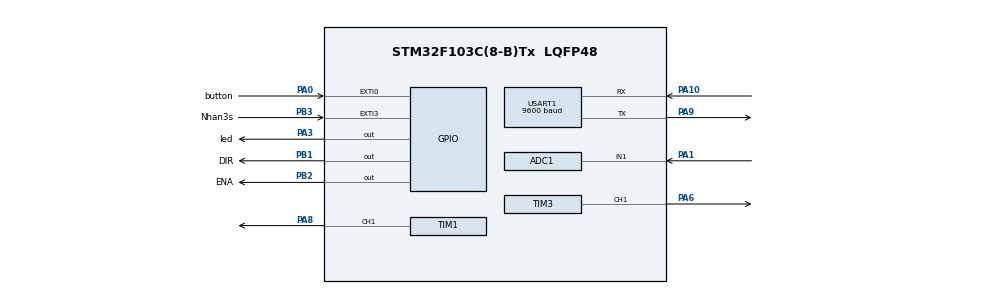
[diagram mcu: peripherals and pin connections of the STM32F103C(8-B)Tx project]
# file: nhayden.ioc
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ADC1.Channel-0\#ChannelRegularConversion=ADC_CHANNEL_1
ADC1.ContinuousConvMode=ENABLE
ADC1.NbrOfConversionFlag=1
ADC1.Rank-0\#ChannelRegularConversion=1
ADC1.SamplingTime-0\#ChannelRegularConversion=ADC_SAMPLETIME_239CYCLES_5
ADC1.master=1
Mcu.Family=STM32F1
Mcu.Name=STM32F103C(8-B)Tx
Mcu.Package=LQFP48
NVIC.ADC1_2_IRQn=true\:0\:0\:false\:false\:true\:true\:true\:true
NVIC.EXTI0_IRQn=true\:0\:0\:false\:false\:true\:true\:true\:true
NVIC.EXTI3_IRQn=true\:0\:0\:false\:false\:true\:true\:true\:true
NVIC.PVD_IRQn=true\:0\:0\:false\:false\:true\:true\:true\:true
NVIC.PriorityGroup=NVIC_PRIORITYGROUP_4
NVIC.TIM1_CC_IRQn=true\:0\:0\:true\:false\:true\:true\:true\:true
NVIC.TIM1_UP_IRQn=true\:0\:0\:true\:false\:true\:true\:true\:true
NVIC.TIM2_IRQn=true\:0\:0\:true\:false\:true\:true\:true\:true
NVIC.TIM3_IRQn=true\:0\:0\:false\:false\:true\:true\:true\:true
NVIC.USART1_IRQn=true\:0\:0\:true\:false\:true\:true\:true\:true
PA0-WKUP.GPIO_Label=button
PA0-WKUP.GPIO_ModeDefaultEXTI=GPIO_MODE_IT_RISING
PA0-WKUP.GPIO_PuPd=GPIO_PULLDOWN
PA0-WKUP.Signal=GPXTI0
PA1.Signal=ADCx_IN1
PA10.Mode=Asynchronous
PA10.Signal=USART1_RX
PA13.Mode=Serial_Wire
PA13.Signal=SYS_JTMS-SWDIO
PA14.Mode=Serial_Wire
PA14.Signal=SYS_JTCK-SWCLK
PA3.GPIO_Label=led
PA3.GPIO_PuPd=GPIO_PULLUP
PA3.Signal=GPIO_Output
PA6.Signal=S_TIM3_CH1
PA8.Signal=S_TIM1_CH1
PA9.Mode=Asynchronous
PA9.Signal=USART1_TX
PB1.GPIO_Label=DIR
PB1.GPIO_PuPd=GPIO_PULLUP
PB1.Signal=GPIO_Output
PB2.GPIO_Label=ENA
PB2.GPIO_PuPd=GPIO_PULLDOWN
PB2.Signal=GPIO_Output
PB3.GPIO_Label=Nhan3s
PB3.GPIO_ModeDefaultEXTI=GPIO_MODE_IT_RISING_FALLING
PB3.GPIO_PuPd=GPIO_PULLDOWN
PB3.Signal=GPXTI3
PD0-OSC_IN.Mode=HSE-External-Oscillator
PD0-OSC_IN.Signal=RCC_OSC_IN
PD1-OSC_OUT.Mode=HSE-External-Oscillator
PD1-OSC_OUT.Signal=RCC_OSC_OUT
ProjectManager.HeapSize=0x200
ProjectManager.StackSize=0x400
ProjectManager.TargetToolchain=STM32CubeIDE
RCC.APB1Freq_Value=8000000
RCC.APB2Freq_Value=8000000
SH.ADCx_IN1.0=ADC1_IN1,IN1
SH.S_TIM1_CH1.0=TIM1_CH1,PWM Generation1 CH1
SH.S_TIM3_CH1.0=TIM3_CH1,Output Compare1 CH1
TIM1.AutoReloadPreload=TIM_AUTORELOAD_PRELOAD_ENABLE
TIM1.Channel-PWM\ Generation1\ CH1=TIM_CHANNEL_1
TIM1.Period=999
TIM1.Prescaler=80
TIM1.Pulse-PWM\ Generation1\ CH1=950
TIM2.AutoReloadPreload=TIM_AUTORELOAD_PRELOAD_ENABLE
TIM2.Period=4999
TIM2.Prescaler=7999
TIM3.AutoReloadPreload=TIM_AUTORELOAD_PRELOAD_ENABLE
TIM3.Channel-Output\ Compare1\ CH1=TIM_CHANNEL_1
TIM3.OC1Preload=ENABLE
TIM3.OCPolarity_1=TIM_OCPOLARITY_LOW
TIM3.Period=999
TIM3.Prescaler=7
TIM3.Pulse-Output\ Compare1\ CH1=499
USART1.BaudRate=9600
USART1.VirtualMode=VM_ASYNC
VP_TIM2_VS_ClockSourceINT.Mode=Internal
VP_TIM3_VS_ClockSourceINT.Mode=Internal
board=custom

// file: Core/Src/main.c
/* USER CODE BEGIN Header */
/**
  ******************************************************************************
  * @file           : main.c
  * @brief          : Main program body
  ******************************************************************************
  * @attention
  *
  * Copyright (c) 2025 STMicroelectronics.
  * All rights reserved.
  *
  * This software is licensed under terms that can be found in the LICENSE file
  * in the root directory of this software component.
  * If no LICENSE file comes with this software, it is provided AS-IS.
  *
  ******************************************************************************
  */
/*
TIM1: ARR 1000 , PSC 80, PULSE 950(gia tri ban dau)
TIM2: ARR 4999 , PSC 7999 -> 1 cycle = 1ms -> 5000 cycles = 5s
UART: Baudrate: 9600 PA9 Tx PA10 Rx
ADC: PA1
EXTI: PA0(EXTI0) gọi khi kích lên, PA3(EXTI3) gọi khi xung thay đổi
Target (nói sơ bộ về quy trình tụi em làm) :
 	-task 1 TIMER, PWM
		+ khởi tạo itr của timer để sử dụng Timer 2 nháy đèn 5s
		+ tìm hiểu hàm thay đổi giá trị ARR và reset timer
		+ viết hàm thay đổi của PWM khi được dùng
		+ dùng uart để thay đổi chế độ sử dụng
	-task 2 EXIT
		+ viết thêm 1 hàm riêng để đổi mod và sửa lại hàm uart cho phù hợp
		+ thêm nút nhấn tao ham callback exit de thuc hien ngat
		+ nhấn đổi mod và gọi hàm đổi
		+ nhấn giữ và đổi ARR khi thả quay về mod cũ
	-task 3 ADC
		+ dùng PA1 để làm chân đọc ADC
		+ biến đổi dữ liệu đọc được và gắn vào PWM để thay đổi độ sáng
*/
/* USER CODE END Header */
#include "main.h"

ADC_HandleTypeDef hadc1;

TIM_HandleTypeDef htim1;
TIM_HandleTypeDef htim2;
TIM_HandleTypeDef htim3;

UART_HandleTypeDef huart1;

/* USER CODE BEGIN PV */
char rxByte=0; //bien luu gia tri UART de truyen
uint16_t count = 999;// bien dem dung trong sang dan tat dan
uint8_t flag=0;//luu gia tri dung trong if eles cua PWM
uint8_t flag_nhan=0;//luu gia tri khi nhan va tha cua nhun nhan
uint8_t mod; //luu che do
uint32_t last_tick=0;// bien luu lan nhan cuoi
uint16_t adc_value;
uint8_t count_sevor;//den so buoc
uint8_t dem_vong=0;
uint8_t last=0;
uint8_t buoc=0;
/* USER CODE END PV */

void SystemClock_Config(void);
static void MX_GPIO_Init(void);
static void MX_TIM2_Init(void);
static void MX_USART1_UART_Init(void);
static void MX_TIM1_Init(void);
static void MX_ADC1_Init(void);
static void MX_TIM3_Init(void);
/* USER CODE BEGIN PFP */
void HAL_TIM_PeriodElapsedCallback(TIM_HandleTypeDef *htim);
void HAL_TIM_PWM_PulseFinishedCallback(TIM_HandleTypeDef *htim);
void HAL_GPIO_EXTI_Callback(uint16_t GPIO_Pin);
void printf_uart(const char *mess);
void changeARR(uint16_t ARR);
void changemod(uint8_t mod);
void HAL_ADC_ConvCpltCallback(ADC_HandleTypeDef* hadc);
/* USER CODE END PFP */

int main(void)
{

  /* MCU Configuration--------------------------------------------------------*/

  /* Reset of all peripherals, Initializes the Flash interface and the Systick. */
  HAL_Init();

  /* Configure the system clock */
  SystemClock_Config();

  /* Initialize all configured peripherals */
  MX_GPIO_Init();
  MX_TIM2_Init();
  MX_USART1_UART_Init();
  MX_TIM1_Init();
  MX_ADC1_Init();
  MX_TIM3_Init();
  /* USER CODE BEGIN 2 */
  changemod(1);
  HAL_UART_Receive_IT(&huart1, (uint8_t*)&rxByte, 1);
  /* USER CODE END 2 */

  /* Infinite loop */
  while (1)
  {

  }
}

void SystemClock_Config(void)
{
  RCC_OscInitTypeDef RCC_OscInitStruct = {0};
  RCC_ClkInitTypeDef RCC_ClkInitStruct = {0};
  RCC_PeriphCLKInitTypeDef PeriphClkInit = {0};

  /** Initializes the RCC Oscillators according to the specified parameters
  * in the RCC_OscInitTypeDef structure.
  */
  RCC_OscInitStruct.OscillatorType = RCC_OSCILLATORTYPE_HSI;
  RCC_OscInitStruct.HSIState = RCC_HSI_ON;
  RCC_OscInitStruct.HSICalibrationValue = RCC_HSICALIBRATION_DEFAULT;
  RCC_OscInitStruct.PLL.PLLState = RCC_PLL_NONE;
  if (HAL_RCC_OscConfig(&RCC_OscInitStruct) != HAL_OK)
  {
    Error_Handler();
  }

  /** Initializes the CPU, AHB and APB buses clocks
  */
  RCC_ClkInitStruct.ClockType = RCC_CLOCKTYPE_HCLK|RCC_CLOCKTYPE_SYSCLK
                              |RCC_CLOCKTYPE_PCLK1|RCC_CLOCKTYPE_PCLK2;
  RCC_ClkInitStruct.SYSCLKSource = RCC_SYSCLKSOURCE_HSI;
  RCC_ClkInitStruct.AHBCLKDivider = RCC_SYSCLK_DIV1;
  RCC_ClkInitStruct.APB1CLKDivider = RCC_HCLK_DIV1;
  RCC_ClkInitStruct.APB2CLKDivider = RCC_HCLK_DIV1;

  if (HAL_RCC_ClockConfig(&RCC_ClkInitStruct, FLASH_LATENCY_0) != HAL_OK)
  {
    Error_Handler();
  }
  PeriphClkInit.PeriphClockSelection = RCC_PERIPHCLK_ADC;
  PeriphClkInit.AdcClockSelection = RCC_ADCPCLK2_DIV2;
  if (HAL_RCCEx_PeriphCLKConfig(&PeriphClkInit) != HAL_OK)
  {
    Error_Handler();
  }
}

static void MX_ADC1_Init(void)
{

  ADC_ChannelConfTypeDef sConfig = {0};

  /** Common config
  */
  hadc1.Instance = ADC1;
  hadc1.Init.ScanConvMode = ADC_SCAN_DISABLE;
  hadc1.Init.ContinuousConvMode = ENABLE;
  hadc1.Init.DiscontinuousConvMode = DISABLE;
  hadc1.Init.ExternalTrigConv = ADC_SOFTWARE_START;
  hadc1.Init.DataAlign = ADC_DATAALIGN_RIGHT;
  hadc1.Init.NbrOfConversion = 1;
  if (HAL_ADC_Init(&hadc1) != HAL_OK)
  {
    Error_Handler();
  }

  /** Configure Regular Channel
  */
  sConfig.Channel = ADC_CHANNEL_1;
  sConfig.Rank = ADC_REGULAR_RANK_1;
  sConfig.SamplingTime = ADC_SAMPLETIME_239CYCLES_5;
  if (HAL_ADC_ConfigChannel(&hadc1, &sConfig) != HAL_OK)
  {
    Error_Handler();
  }

}

static void MX_TIM1_Init(void)
{

  TIM_MasterConfigTypeDef sMasterConfig = {0};
  TIM_OC_InitTypeDef sConfigOC = {0};
  TIM_BreakDeadTimeConfigTypeDef sBreakDeadTimeConfig = {0};

  htim1.Instance = TIM1;
  htim1.Init.Prescaler = 80;
  htim1.Init.CounterMode = TIM_COUNTERMODE_UP;
  htim1.Init.Period = 999;
  htim1.Init.ClockDivision = TIM_CLOCKDIVISION_DIV1;
  htim1.Init.RepetitionCounter = 0;
  htim1.Init.AutoReloadPreload = TIM_AUTORELOAD_PRELOAD_ENABLE;
  if (HAL_TIM_PWM_Init(&htim1) != HAL_OK)
  {
    Error_Handler();
  }
  sMasterConfig.MasterOutputTrigger = TIM_TRGO_RESET;
  sMasterConfig.MasterSlaveMode = TIM_MASTERSLAVEMODE_DISABLE;
  if (HAL_TIMEx_MasterConfigSynchronization(&htim1, &sMasterConfig) != HAL_OK)
  {
    Error_Handler();
  }
  sConfigOC.OCMode = TIM_OCMODE_PWM1;
  sConfigOC.Pulse = 950;
  sConfigOC.OCPolarity = TIM_OCPOLARITY_HIGH;
  sConfigOC.OCNPolarity = TIM_OCNPOLARITY_HIGH;
  sConfigOC.OCFastMode = TIM_OCFAST_DISABLE;
  sConfigOC.OCIdleState = TIM_OCIDLESTATE_RESET;
  sConfigOC.OCNIdleState = TIM_OCNIDLESTATE_RESET;
  if (HAL_TIM_PWM_ConfigChannel(&htim1, &sConfigOC, TIM_CHANNEL_1) != HAL_OK)
  {
    Error_Handler();
  }
  sBreakDeadTimeConfig.OffStateRunMode = TIM_OSSR_DISABLE;
  sBreakDeadTimeConfig.OffStateIDLEMode = TIM_OSSI_DISABLE;
  sBreakDeadTimeConfig.LockLevel = TIM_LOCKLEVEL_OFF;
  sBreakDeadTimeConfig.DeadTime = 0;
  sBreakDeadTimeConfig.BreakState = TIM_BREAK_DISABLE;
  sBreakDeadTimeConfig.BreakPolarity = TIM_BREAKPOLARITY_HIGH;
  sBreakDeadTimeConfig.AutomaticOutput = TIM_AUTOMATICOUTPUT_DISABLE;
  if (HAL_TIMEx_ConfigBreakDeadTime(&htim1, &sBreakDeadTimeConfig) != HAL_OK)
  {
    Error_Handler();
  }
  HAL_TIM_MspPostInit(&htim1);

}

static void MX_TIM2_Init(void)
{

  TIM_ClockConfigTypeDef sClockSourceConfig = {0};
  TIM_MasterConfigTypeDef sMasterConfig = {0};

  htim2.Instance = TIM2;
  htim2.Init.Prescaler = 7999;
  htim2.Init.CounterMode = TIM_COUNTERMODE_UP;
  htim2.Init.Period = 4999;
  htim2.Init.ClockDivision = TIM_CLOCKDIVISION_DIV1;
  htim2.Init.AutoReloadPreload = TIM_AUTORELOAD_PRELOAD_ENABLE;
  if (HAL_TIM_Base_Init(&htim2) != HAL_OK)
  {
    Error_Handler();
  }
  sClockSourceConfig.ClockSource = TIM_CLOCKSOURCE_INTERNAL;
  if (HAL_TIM_ConfigClockSource(&htim2, &sClockSourceConfig) != HAL_OK)
  {
    Error_Handler();
  }
  sMasterConfig.MasterOutputTrigger = TIM_TRGO_RESET;
  sMasterConfig.MasterSlaveMode = TIM_MASTERSLAVEMODE_DISABLE;
  if (HAL_TIMEx_MasterConfigSynchronization(&htim2, &sMasterConfig) != HAL_OK)
  {
    Error_Handler();
  }

}

static void MX_TIM3_Init(void)
{

  TIM_ClockConfigTypeDef sClockSourceConfig = {0};
  TIM_MasterConfigTypeDef sMasterConfig = {0};
  TIM_OC_InitTypeDef sConfigOC = {0};

  htim3.Instance = TIM3;
  htim3.Init.Prescaler = 7;
  htim3.Init.CounterMode = TIM_COUNTERMODE_UP;
  htim3.Init.Period = 999;
  htim3.Init.ClockDivision = TIM_CLOCKDIVISION_DIV1;
  htim3.Init.AutoReloadPreload = TIM_AUTORELOAD_PRELOAD_ENABLE;
  if (HAL_TIM_Base_Init(&htim3) != HAL_OK)
  {
    Error_Handler();
  }
  sClockSourceConfig.ClockSource = TIM_CLOCKSOURCE_INTERNAL;
  if (HAL_TIM_ConfigClockSource(&htim3, &sClockSourceConfig) != HAL_OK)
  {
    Error_Handler();
  }
  if (HAL_TIM_OC_Init(&htim3) != HAL_OK)
  {
    Error_Handler();
  }
  sMasterConfig.MasterOutputTrigger = TIM_TRGO_RESET;
  sMasterConfig.MasterSlaveMode = TIM_MASTERSLAVEMODE_DISABLE;
  if (HAL_TIMEx_MasterConfigSynchronization(&htim3, &sMasterConfig) != HAL_OK)
  {
    Error_Handler();
  }
  sConfigOC.OCMode = TIM_OCMODE_TIMING;
  sConfigOC.Pulse = 499;
  sConfigOC.OCPolarity = TIM_OCPOLARITY_LOW;
  sConfigOC.OCFastMode = TIM_OCFAST_DISABLE;
  if (HAL_TIM_OC_ConfigChannel(&htim3, &sConfigOC, TIM_CHANNEL_1) != HAL_OK)
  {
    Error_Handler();
  }
  __HAL_TIM_ENABLE_OCxPRELOAD(&htim3, TIM_CHANNEL_1);
  HAL_TIM_MspPostInit(&htim3);

}

static void MX_USART1_UART_Init(void)
{

  huart1.Instance = USART1;
  huart1.Init.BaudRate = 9600;
  huart1.Init.WordLength = UART_WORDLENGTH_8B;
  huart1.Init.StopBits = UART_STOPBITS_1;
  huart1.Init.Parity = UART_PARITY_NONE;
  huart1.Init.Mode = UART_MODE_TX_RX;
  huart1.Init.HwFlowCtl = UART_HWCONTROL_NONE;
  huart1.Init.OverSampling = UART_OVERSAMPLING_16;
  if (HAL_UART_Init(&huart1) != HAL_OK)
  {
    Error_Handler();
  }

}

static void MX_GPIO_Init(void)
{
  GPIO_InitTypeDef GPIO_InitStruct = {0};

  /* GPIO Ports Clock Enable */
  __HAL_RCC_GPIOD_CLK_ENABLE();
  __HAL_RCC_GPIOA_CLK_ENABLE();
  __HAL_RCC_GPIOB_CLK_ENABLE();

  /*Configure GPIO pin Output Level */
  HAL_GPIO_WritePin(led_GPIO_Port, led_Pin, GPIO_PIN_RESET);

  /*Configure GPIO pin Output Level */
  HAL_GPIO_WritePin(GPIOB, DIR_Pin|ENA_Pin, GPIO_PIN_RESET);

  /*Configure GPIO pin : button_Pin */
  GPIO_InitStruct.Pin = button_Pin;
  GPIO_InitStruct.Mode = GPIO_MODE_IT_RISING;
  GPIO_InitStruct.Pull = GPIO_PULLDOWN;
  HAL_GPIO_Init(button_GPIO_Port, &GPIO_InitStruct);

  /*Configure GPIO pin : led_Pin */
  GPIO_InitStruct.Pin = led_Pin;
  GPIO_InitStruct.Mode = GPIO_MODE_OUTPUT_PP;
  GPIO_InitStruct.Pull = GPIO_PULLUP;
  GPIO_InitStruct.Speed = GPIO_SPEED_FREQ_LOW;
  HAL_GPIO_Init(led_GPIO_Port, &GPIO_InitStruct);

  /*Configure GPIO pin : DIR_Pin */
  GPIO_InitStruct.Pin = DIR_Pin;
  GPIO_InitStruct.Mode = GPIO_MODE_OUTPUT_PP;
  GPIO_InitStruct.Pull = GPIO_PULLUP;
  GPIO_InitStruct.Speed = GPIO_SPEED_FREQ_LOW;
  HAL_GPIO_Init(DIR_GPIO_Port, &GPIO_InitStruct);

  /*Configure GPIO pin : ENA_Pin */
  GPIO_InitStruct.Pin = ENA_Pin;
  GPIO_InitStruct.Mode = GPIO_MODE_OUTPUT_PP;
  GPIO_InitStruct.Pull = GPIO_PULLDOWN;
  GPIO_InitStruct.Speed = GPIO_SPEED_FREQ_LOW;
  HAL_GPIO_Init(ENA_GPIO_Port, &GPIO_InitStruct);

  /*Configure GPIO pin : Nhan3s_Pin */
  GPIO_InitStruct.Pin = Nhan3s_Pin;
  GPIO_InitStruct.Mode = GPIO_MODE_IT_RISING_FALLING;
  GPIO_InitStruct.Pull = GPIO_PULLDOWN;
  HAL_GPIO_Init(Nhan3s_GPIO_Port, &GPIO_InitStruct);

  /* EXTI interrupt init*/
  HAL_NVIC_SetPriority(EXTI0_IRQn, 0, 0);
  HAL_NVIC_EnableIRQ(EXTI0_IRQn);

  HAL_NVIC_SetPriority(EXTI3_IRQn, 0, 0);
  HAL_NVIC_EnableIRQ(EXTI3_IRQn);

}

/* USER CODE BEGIN 4 */
// hàm in ra bằng UART dùng để gọi ngắn gọn hơn
void printf_uart(const char *mess) {
    HAL_UART_Transmit(&huart1, (uint8_t *)mess, strlen(mess), 500);
}

//Hàm thay đổi ARR của TIM2
void changeARR(uint16_t ARR){
	__HAL_TIM_SET_AUTORELOAD(&htim2, ARR);
	HAL_TIM_Base_Start_IT(&htim2);
	HAL_TIM_PWM_Stop_IT(&htim1,TIM_CHANNEL_1);
	__HAL_TIM_SET_COUNTER(&htim1, 0);
}

// Hàm thay đổi mod
void changemod(uint8_t mod){
	HAL_TIM_Base_Stop_IT(&htim2);
	HAL_TIM_Base_Stop_IT(&htim1);
	HAL_TIM_OC_Stop_IT(&htim3, TIM_CHANNEL_1);
	__HAL_TIM_SET_COUNTER(&htim2, 0);
	HAL_ADC_Stop_IT(&hadc1);
	switch(mod){
		case 1:
			HAL_TIM_OC_Start_IT(&htim3, TIM_CHANNEL_1);
			changeARR(4999);
			printf_uart(" Mode 1\n");
			break;
		case 2:
			HAL_TIM_OC_Start_IT(&htim3, TIM_CHANNEL_1);
			changeARR(9999);
			printf_uart(" Mode 2\n");
			break;
		case 3:
			HAL_TIM_Base_Start_IT(&htim1);
			HAL_GPIO_WritePin(led_GPIO_Port,led_Pin,RESET);
			HAL_TIM_PWM_Start_IT(&htim1,TIM_CHANNEL_1);
			printf_uart(" Mode 3\n");
			break;
		case 4:
			changeARR(2999);
			printf_uart(" Mode 4\n");
			break;
		case 5:
			HAL_TIM_Base_Start_IT(&htim1);
			HAL_GPIO_WritePin(led_GPIO_Port,led_Pin,RESET);
			HAL_TIM_PWM_Start_IT(&htim1,TIM_CHANNEL_1);
			printf_uart(" Mode 5\n");
			HAL_ADC_Start_IT(&hadc1);
			break;
	}
}

void HAL_UART_RxCpltCallback(UART_HandleTypeDef *huart){
	 if (huart->Instance == USART1) {
		 if(last==0 ){
			 mod=rxByte-'0';//do giá trị UART nhận được là ASCII nên -'0' để đưa về INT
		 	 changemod(mod);
		 	 if(mod==3) last=1;
		 }
		 else{
			 count_sevor = 0;
			 if(rxByte-'0'!=0){
				 buoc=rxByte-'0';
				 HAL_TIM_OC_Start_IT(&htim3, TIM_CHANNEL_1);
			 }
			 else last=0;
		 }
		 HAL_UART_Receive_IT(&huart1, (uint8_t*)&rxByte, 1);
	 }
}

void HAL_TIM_PeriodElapsedCallback(TIM_HandleTypeDef *htim){
	if(htim->Instance == TIM2){
		HAL_GPIO_TogglePin(led_GPIO_Port, led_Pin);
	}
}

void HAL_TIM_OC_DelayElapsedCallback(TIM_HandleTypeDef *htim)
{
   if(htim->Instance == TIM3){  // kiểm tra timer chứ không dùng Channel
       if(mod==1 || mod==2){
           if(++count_sevor == 200){
              char buffer[20];
              sprintf(buffer, "Vong %d\r\n", dem_vong++);
              printf_uart(buffer);

              if(mod==2){
                  HAL_GPIO_TogglePin(DIR_GPIO_Port, DIR_Pin);
              }
              count_sevor = 0;
           }
       }
       else {
           char buffer[20];
           sprintf(buffer, "%d\r\n", count_sevor);
           printf_uart(buffer);

           count_sevor++;
           if(count_sevor > buoc){
               sprintf(buffer, "Done\r\n");
               printf_uart(buffer);
               buoc = 0;
               HAL_TIM_OC_Stop_IT(&htim3, TIM_CHANNEL_1);
           }
       }
       __HAL_TIM_SET_COUNTER(htim, 0);
   }
}

void HAL_TIM_PWM_PulseFinishedCallback(TIM_HandleTypeDef *htim){
	if(htim->Instance == TIM1){
		if(mod == 3){
			if(flag==0){
				__HAL_TIM_SET_COMPARE(&htim1, TIM_CHANNEL_1, count);
				if(count-- == 1) {
					flag=1;
				}
			}
			else{
				__HAL_TIM_SET_COMPARE(&htim1, TIM_CHANNEL_1, count);
				if(count++ == 1000) {
					flag=0;
				}
			}
		}
	}
}
void HAL_GPIO_EXTI_Callback(uint16_t GPIO_Pin){
	if(GPIO_Pin==button_Pin){
		if(HAL_GetTick() - last_tick > 200){//tránh nhiễu
			mod++;
			if(mod > 3 && mod < 5) mod = 5;
			if(mod > 5) mod = 1;
			changemod(mod);
			last_tick = HAL_GetTick();
		}
	}
	else if(GPIO_Pin==Nhan3s_Pin){
		if(HAL_GetTick() - last_tick > 50){
			if(flag_nhan==0) {
				changemod(4);
				flag_nhan++;
			}
			else{
				flag_nhan=0;
				printf_uart(" turn back ");
				changemod(mod);
			}
			last_tick = HAL_GetTick();
		}
	}
}
// Ham ITR cua ADC
void HAL_ADC_ConvCpltCallback(ADC_HandleTypeDef* hadc){
    if(hadc->Instance == ADC1){
		adc_value= HAL_ADC_GetValue(&hadc1);
		uint16_t pwm_value = (adc_value * __HAL_TIM_GET_AUTORELOAD(&htim1))/4000;
		//công thức giúp đưa giá trị lấy được bằng ADC về cùng khoảng với giá trị ARR của TIM1
		// vì giá trị cao nhất của ADC là 4095 nên chia 4000 để khi ADC đạt giá trị cao nhất thì sẽ là 1001+ khi đó đèn tắt hẵn
		__HAL_TIM_SET_COMPARE(&htim1, TIM_CHANNEL_1, pwm_value);
    }
}

/* USER CODE END 4 */

void Error_Handler(void)
{
  __disable_irq();
  while (1)
  {
  }
}
